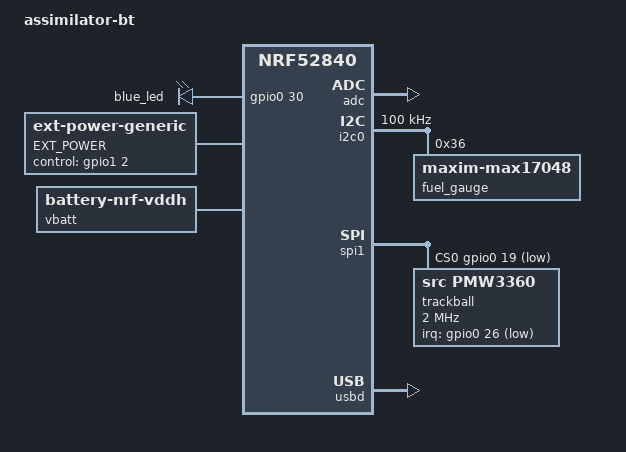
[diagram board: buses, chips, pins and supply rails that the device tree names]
/*
 * Copyright (c) 2021 The ZMK Contributors
 *
 * SPDX-License-Identifier: MIT
 */

/dts-v1/;
#include <nordic/nrf52840_qiaa.dtsi>
#include "assimilator-bt-pinctrl.dtsi"

/ {
    model = "assimilator-bt";
    compatible = "assimilator-bt";

    chosen {
        zephyr,code-partition = &code_partition;
        zephyr,sram = &sram0;
        zephyr,flash = &flash0;
        zmk,battery = &fuel_gauge;
    };

    leds {
        compatible = "gpio-leds";
        blue_led: led_0 {
            gpios = <&gpio0 30 GPIO_ACTIVE_HIGH>;
        };
    };

    // Node name must match original "EXT_POWER" label to preserve user settings.
    EXT_POWER {
        compatible = "zmk,ext-power-generic";
        control-gpios = <&gpio1 2 GPIO_ACTIVE_HIGH>;
        init-delay-ms = <50>;
    };

    vbatt: vbatt {
        compatible = "zmk,battery-nrf-vddh";
    };
};

&adc {
    status = "okay";
};

&gpiote {
    status = "okay";
};

&gpio0 {
    status = "okay";
};

&gpio1 {
    status = "okay";
};

&i2c0 {
    status = "okay";
    compatible = "nordic,nrf-twim";
    pinctrl-0 = <&i2c0_default>;
    pinctrl-1 = <&i2c0_sleep>;
    pinctrl-names = "default", "sleep";
    clock-frequency = <100000>;

    fuel_gauge: max17048@36 {
        compatible = "zmk,maxim-max17048";
		reg = <0x36>;
        status = "okay";
    };
};

&spi1 {
    status = "okay";
    compatible = "nordic,nrf-spim";
    pinctrl-0 = <&spi1_default>;
    pinctrl-1 = <&spi1_sleep>;
    pinctrl-names = "default", "sleep";
    cs-gpios = <&gpio0 19 GPIO_ACTIVE_LOW>;

    trackball: trackball@0 {
        status = "okay";
        compatible = "src,pmw3360";
        reg = <0>;
        spi-max-frequency = <2000000>;
        irq-gpios = <&gpio0 26 (GPIO_ACTIVE_LOW | GPIO_PULL_UP)>; // an unused, but broken out pin on the assimilator.  our PMW3360 board doesn't break out the Motion pin.

        /*   optional features   */
        // snipe-layers = <1>;
        // scroll-layers = <2 3>;
        // automouse-layer = <4>;
    };
};

zephyr_udc0: &usbd {
    status = "okay";
};


&flash0 {
    /*
     * For more information, see:
     * http://docs.zephyrproject.org/latest/devices/dts/flash_partitions.html
     */
    partitions {
        compatible = "fixed-partitions";
        #address-cells = <1>;
        #size-cells = <1>;

        sd_partition: partition@0 {
            reg = <0x00000000 0x00026000>;
        };
        code_partition: partition@26000 {
            reg = <0x00026000 0x000c6000>;
        };

        /*
         * The flash starting at 0x000ec000 and ending at
         * 0x000f3fff is reserved for use by the application.
         */

        /*
         * Storage partition will be used by FCB/LittleFS/NVS
         * if enabled.
         */
        storage_partition: partition@ec000 {
            reg = <0x000ec000 0x00008000>;
        };

        boot_partition: partition@f4000 {
            reg = <0x000f4000 0x0000c000>;
        };
    };
};
